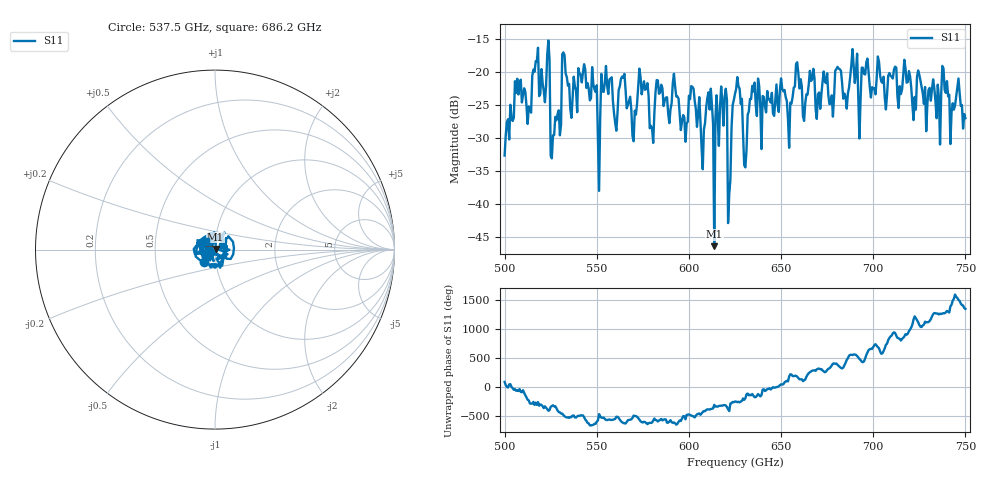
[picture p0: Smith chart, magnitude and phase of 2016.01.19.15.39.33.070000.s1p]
!Created with skrf (http://scikit-rf.org).
# GHz S RI R 50.0
!freq ReS11 ImS11
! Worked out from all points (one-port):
!   401 points, 500 GHz to 750 GHz, reference 50 ohm
!   lowest |S11| = -46.4 dB at 613.8 GHz (marker M1), VSWR 1.01, Z = 50.3 + j0.375 ohm
!   |S11| at or under -10 dB: start of sweep to end of sweep
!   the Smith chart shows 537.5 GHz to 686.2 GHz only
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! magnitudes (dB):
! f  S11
! 500 GHz  -32.7
! 506.9 GHz  -21.0
! 513.1 GHz  -25.3
! 516.9 GHz  -18.4
! 523.1 GHz  -17.4
! 526.2 GHz  -29.6
! 531.2 GHz  -17.3
! 548.8 GHz  -22.6
! 550.6 GHz  -29.7
! 553.8 GHz  -23.0
! 562.5 GHz  -22.2
! 570 GHz  -30.5
! 574.4 GHz  -23.4
! 580 GHz  -28.6
! 583.8 GHz  -23.3
! 593.8 GHz  -23.7
! 607.5 GHz  -34.8
! 611.2 GHz  -25.7
! 613.8 GHz  -46.4
! 618.8 GHz  -28.2
! 622.5 GHz  -36.3
! 625 GHz  -23.3
! 630.6 GHz  -34.5
! 634.4 GHz  -22.1
! 656.2 GHz  -23.8
! 687.5 GHz  -20.7
! 718.8 GHz  -21.5
! 750 GHz  -27.0
